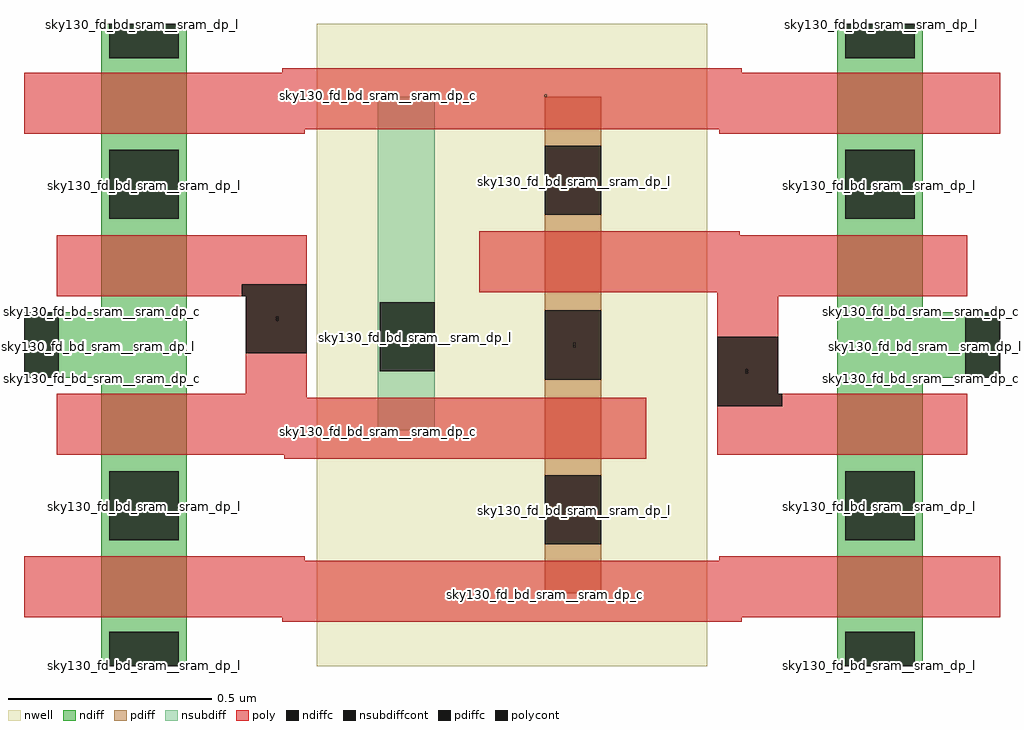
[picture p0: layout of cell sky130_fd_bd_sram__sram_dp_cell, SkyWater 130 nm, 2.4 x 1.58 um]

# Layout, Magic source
magic
tech sky130A
magscale 1 2
<< ndiffc >>
rect 42 299 76 316
rect 404 299 438 316
rect 42 220 76 254
rect 404 220 438 254
rect 0 142 17 174
rect 463 142 480 174
rect 42 62 76 96
rect 404 62 438 96
rect 42 0 76 17
rect 404 0 438 17
<< pdiffc >>
rect 256 222 284 256
rect 256 141 284 175
rect 256 60 284 94
<< nsubdiffcont >>
rect 175 145 202 179
<< poly >>
rect 256 102 306 132
<< polycont >>
rect 107 182 139 188
rect 109 154 139 182
rect 341 134 371 162
rect 341 128 373 134
use sky130_fd_bd_sram__sram_dp_cell_ndiff  sky130_fd_bd_sram__sram_dp_cell_ndiff_0
transform -1 0 480 0 1 0
box 0 0 80 316
use sky130_fd_bd_sram__sram_dp_cell_ndiff  sky130_fd_bd_sram__sram_dp_cell_ndiff_1
transform 1 0 0 0 1 0
box 0 0 80 316
use sky130_fd_bd_sram__sram_dp_cell_poly_chair  sky130_fd_bd_sram__sram_dp_cell_poly_chair_0
transform 1 0 0 0 1 0
box 0 22 256 294
use sky130_fd_bd_sram__sram_dp_cell_poly_chair  sky130_fd_bd_sram__sram_dp_cell_poly_chair_1
transform -1 0 480 0 -1 316
box 0 22 256 294
use sky130_fd_bd_sram__sram_dp_cell_pdiff  sky130_fd_bd_sram__sram_dp_cell_pdiff_0
transform 1 0 0 0 1 0
box 144 0 336 316
<< properties >>
string GDS_FILE sky130_fd_bd_sram__sram_dp_cell.gds
string GDS_END 4008
string GDS_START 3522
<< end >>

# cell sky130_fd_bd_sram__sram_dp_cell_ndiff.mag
magic
tech sky130A
magscale 1 2
<< ndiff >>
rect 38 174 80 316
rect 0 142 80 174
rect 38 0 80 142
use sky130_fd_bd_sram__sram_dp_cell_fom_srf_1  sky130_fd_bd_sram__sram_dp_cell_fom_srf_1_0
transform 1 0 38 0 -1 142
box 0 0 1 1
use sky130_fd_bd_sram__sram_dp_cell_fom_srf_1  sky130_fd_bd_sram__sram_dp_cell_fom_srf_1_1
transform 1 0 38 0 1 174
box 0 0 1 1
use sky130_fd_bd_sram__sram_dp_licon_1  sky130_fd_bd_sram__sram_dp_licon_1_0
transform 1 0 59 0 1 79
box 0 -1 1 1
use sky130_fd_bd_sram__sram_dp_licon_1  sky130_fd_bd_sram__sram_dp_licon_1_1
transform 1 0 59 0 1 237
box 0 -1 1 1
use sky130_fd_bd_sram__sram_dp_licon_05  sky130_fd_bd_sram__sram_dp_licon_05_0
transform 1 0 59 0 1 0
box 0 0 1 1
use sky130_fd_bd_sram__sram_dp_licon_05  sky130_fd_bd_sram__sram_dp_licon_05_1
transform 0 1 0 -1 0 158
box 0 0 1 1
use sky130_fd_bd_sram__sram_dp_licon_05  sky130_fd_bd_sram__sram_dp_licon_05_2
transform -1 0 59 0 -1 316
box 0 0 1 1
<< properties >>
string GDS_FILE sky130_fd_bd_sram__sram_dp_cell_ndiff.gds
string GDS_END 1466
string GDS_START 640
<< end >>

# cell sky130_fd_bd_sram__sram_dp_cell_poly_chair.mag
magic
tech sky130A
magscale 1 2
<< poly >>
rect 16 182 139 212
rect 109 134 139 182
rect 16 132 139 134
rect 16 104 256 132
rect 128 102 256 104
use sky130_fd_bd_sram__sram_dp_licon_1  sky130_fd_bd_sram__sram_dp_licon_1_0
transform 1 0 124 0 1 171
box 0 -1 1 1
use sky130_fd_bd_sram__sram_dp_cell_half_wl  sky130_fd_bd_sram__sram_dp_cell_half_wl_0
transform 1 0 0 0 -1 292
box 0 -2 240 30
use sky130_fd_bd_sram__sram_dp_cell_half_wl  sky130_fd_bd_sram__sram_dp_cell_half_wl_1
transform 1 0 0 0 1 24
box 0 -2 240 30
<< properties >>
string GDS_FILE sky130_fd_bd_sram__sram_dp_cell_poly_chair.gds
string GDS_END 1066
string GDS_START 678
<< end >>

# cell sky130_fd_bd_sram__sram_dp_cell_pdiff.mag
magic
tech sky130A
magscale 1 2
<< nwell >>
rect 144 0 336 316
<< pdiff >>
rect 256 36 284 280
<< nsubdiff >>
rect 174 116 202 280
use sky130_fd_bd_sram__sram_dp_licon_1  sky130_fd_bd_sram__sram_dp_licon_1_0
transform 1 0 270 0 1 77
box 0 -1 1 1
use sky130_fd_bd_sram__sram_dp_licon_1  sky130_fd_bd_sram__sram_dp_licon_1_1
transform 1 0 270 0 1 239
box 0 -1 1 1
use sky130_fd_bd_sram__sram_dp_licon_1  sky130_fd_bd_sram__sram_dp_licon_1_2
transform 1 0 192 0 1 162
box 0 -1 1 1
use sky130_fd_bd_sram__sram_dp_licon_1  sky130_fd_bd_sram__sram_dp_licon_1_3
transform 1 0 270 0 1 158
box 0 -1 1 1
use sky130_fd_bd_sram__sram_dp_cell_fom_ext_1  sky130_fd_bd_sram__sram_dp_cell_fom_ext_1_0
transform 1 0 174 0 -1 116
box 0 0 1 1
use sky130_fd_bd_sram__sram_dp_cell_fom_ext_1  sky130_fd_bd_sram__sram_dp_cell_fom_ext_1_1
transform 1 0 256 0 -1 36
box 0 0 1 1
use sky130_fd_bd_sram__sram_dp_cell_fom_ext_1  sky130_fd_bd_sram__sram_dp_cell_fom_ext_1_2
transform 1 0 174 0 1 280
box 0 0 1 1
use sky130_fd_bd_sram__sram_dp_cell_fom_ext_1  sky130_fd_bd_sram__sram_dp_cell_fom_ext_1_3
transform 1 0 256 0 1 280
box 0 0 1 1
<< properties >>
string GDS_FILE sky130_fd_bd_sram__sram_dp_cell_pdiff.gds
string GDS_END 1792
string GDS_START 640
<< end >>

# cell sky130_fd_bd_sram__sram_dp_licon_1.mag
magic
tech sky130A
magscale 1 2
use sky130_fd_bd_sram__sram_dp_licon_05  sky130_fd_bd_sram__sram_dp_licon_05_0
transform 1 0 0 0 -1 0
box 0 0 1 1
use sky130_fd_bd_sram__sram_dp_licon_05  sky130_fd_bd_sram__sram_dp_licon_05_1
transform 1 0 0 0 1 0
box 0 0 1 1
<< properties >>
string GDS_FILE sky130_fd_bd_sram__sram_dp_licon_1.gds
string GDS_END 424
string GDS_START 294
<< end >>

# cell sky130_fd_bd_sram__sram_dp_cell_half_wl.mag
magic
tech sky130A
magscale 1 2
<< poly >>
rect 0 28 138 30
rect 0 0 240 28
rect 127 -2 240 0
<< properties >>
string GDS_FILE sky130_fd_bd_sram__sram_dp_cell_half_wl.gds
string GDS_END 270
string GDS_START 170
<< end >>
